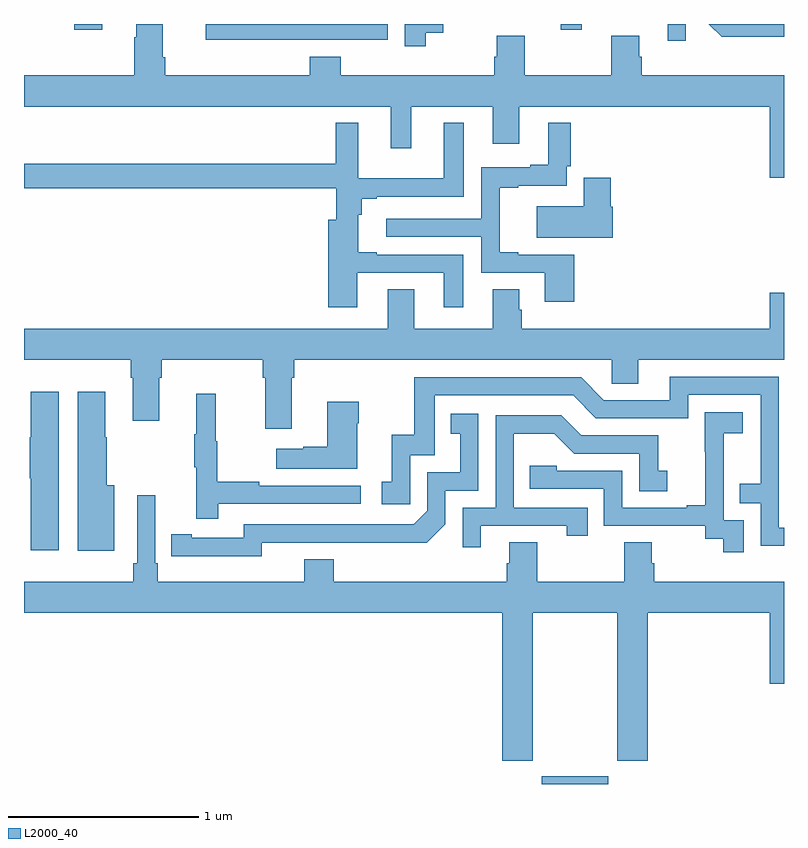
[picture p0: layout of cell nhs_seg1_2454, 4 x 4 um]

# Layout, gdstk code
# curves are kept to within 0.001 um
import gdstk
lib = gdstk.Library(unit=1e-6, precision=1e-09)
def R(c, l, rs):  # rectangles x0, y0, x1, y1
    for r in rs: c.add(gdstk.rectangle(r[:2], r[2:], *l))
def P(c, l, *ps):  # polygons
    for p in ps: c.add(gdstk.Polygon(p, *l))
L2000_40 = (2000, 40)

nhs_seg1_2454 = lib.new_cell('nhs_seg1_2454')
R(nhs_seg1_2454, L2000_40, [(247.724,516.199,248.074,516.241), (248.387,520.11,248.484,520.199), (245.265,520.17,245.413,520.199), (247.825,520.17,247.936,520.199)])
P(nhs_seg1_2454, L2000_40, [(247.114,520.153),(247.206,520.153),(247.206,520.199),(247.005,520.199),(247.005,520.083),(247.114,520.083)],
  [(249,519.928),(248.252,519.928),(248.252,520.026),(248.239,520.026),(248.239,520.136),(248.092,520.136),(248.092,519.928),(247.635,519.928),(247.635,520.136),(247.487,520.136),(247.487,520.026),(247.475,520.026),(247.475,519.928),(246.668,519.928),(246.668,520.027),(246.503,520.027),(246.503,519.928),(245.744,519.928),(245.744,520.024),(245.731,520.024),(245.731,520.199),(245.591,520.199),(245.591,520.13),(245.579,520.13),(245.579,519.928),(245,519.928),(245,519.764),(246.929,519.764),(246.929,519.546),(247.039,519.546),(247.039,519.764),(247.466,519.764),(247.466,519.57),(247.606,519.57),(247.606,519.764),(248.924,519.764),(248.924,519.39),(249,519.39)],
  [(249,520.199),(248.605,520.199),(248.672,520.133),(249,520.133)],
  [(246.419,520.116),(246.915,520.116),(246.915,520.199),(245.956,520.199),(245.956,520.115),(246.419,520.115)],
  [(246.754,518.889),(247.208,518.889),(247.208,518.709),(247.312,518.709),(247.312,518.985),(246.856,518.985),(246.856,518.998),(246.76,518.998),(246.76,519.194),(246.778,519.194),(246.778,519.279),(246.856,519.279),(246.856,519.291),(247.315,519.291),(247.315,519.679),(247.208,519.679),(247.208,519.388),(246.76,519.388),(246.76,519.679),(246.642,519.679),(246.642,519.463),(245,519.463),(245,519.334),(246.644,519.334),(246.644,519.169),(246.602,519.169),(246.602,518.709),(246.754,518.709)],
  [(247.895,518.985),(247.6,518.985),(247.6,518.998),(247.505,518.998),(247.505,519.336),(247.6,519.336),(247.6,519.348),(247.857,519.348),(247.857,519.451),(247.877,519.451),(247.877,519.679),(247.76,519.679),(247.76,519.457),(247.664,519.457),(247.664,519.444),(247.407,519.444),(247.407,519.174),(246.906,519.174),(246.906,519.078),(247.407,519.078),(247.407,518.889),(247.742,518.889),(247.742,518.736),(247.895,518.736)],
  [(248.099,519.237),(248.087,519.237),(248.087,519.391),(247.946,519.391),(247.946,519.241),(247.698,519.241),(247.698,519.074),(248.099,519.074)],
  [(246.409,518.336),(246.422,518.336),(246.422,518.432),(248.094,518.432),(248.094,518.305),(248.233,518.305),(248.233,518.432),(249,518.432),(249,518.785),(248.924,518.785),(248.924,518.596),(247.619,518.596),(247.619,518.694),(247.606,518.694),(247.606,518.804),(247.466,518.804),(247.466,518.596),(247.054,518.596),(247.054,518.804),(246.914,518.804),(246.914,518.596),(245,518.596),(245,518.432),(245.561,518.432),(245.561,518.336),(245.573,518.336),(245.573,518.112),(245.713,518.112),(245.713,518.336),(245.726,518.336),(245.726,518.432),(246.257,518.432),(246.257,518.336),(246.269,518.336),(246.269,518.07),(246.409,518.07)],
  [(249,517.548),(248.973,517.548),(248.973,518.343),(248.399,518.343),(248.399,518.22),(248.052,518.22),(247.932,518.34),(247.053,518.34),(247.053,518.038),(246.935,518.038),(246.935,517.791),(246.882,517.791),(246.882,517.671),(247.032,517.671),(247.032,517.929),(247.161,517.929),(247.161,518.244),(247.89,518.244),(248.01,518.124),(248.496,518.124),(248.496,518.247),(248.877,518.247),(248.877,517.778),(248.767,517.778),(248.767,517.677),(248.877,517.677),(248.877,517.452),(249,517.452)],
  [(245.476,517.771),(245.436,517.771),(245.436,518.024),(245.428,518.024),(245.428,518.263),(245.282,518.263),(245.282,517.427),(245.476,517.427)],
  [(245.182,518.263),(245.036,518.263),(245.036,518.024),(245.029,518.024),(245.029,517.807),(245.036,517.807),(245.036,517.428),(245.182,517.428)],
  [(246.023,517.674),(246.772,517.674),(246.772,517.77),(246.239,517.77),(246.239,517.79),(246.016,517.79),(246.016,518.004),(246.008,518.004),(246.008,518.254),(245.906,518.254),(245.906,518.041),(245.895,518.041),(245.895,517.867),(245.906,517.867),(245.906,517.596),(246.023,517.596)],
  [(246.754,518.099),(246.762,518.099),(246.762,518.212),(246.596,518.212),(246.596,517.973),(246.47,517.973),(246.47,517.963),(246.327,517.963),(246.327,517.859),(246.754,517.859)],
  [(248.787,517.587),(248.682,517.587),(248.682,517.817),(248.684,517.817),(248.684,518.045),(248.782,518.045),(248.782,518.155),(248.584,518.155),(248.584,517.949),(248.585,517.949),(248.585,517.666),(248.489,517.666),(248.489,517.653),(248.148,517.653),(248.148,517.848),(247.803,517.848),(247.803,517.875),(247.663,517.875),(247.663,517.752),(248.052,517.752),(248.052,517.557),(248.586,517.557),(248.586,517.489),(248.679,517.489),(248.679,517.419),(248.787,517.419)],
  [(246.252,517.47),(247.12,517.469),(247.218,517.566),(247.218,517.743),(247.392,517.743),(247.392,518.149),(247.246,518.149),(247.246,518.043),(247.295,518.043),(247.295,517.839),(247.122,517.839),(247.122,517.638),(247.05,517.566),(246.156,517.566),(246.156,517.494),(245.884,517.494),(245.884,517.514),(245.776,517.514),(245.776,517.398),(246.252,517.397)],
  [(247.405,517.557),(247.856,517.557),(247.856,517.506),(247.967,517.506),(247.967,517.653),(247.578,517.653),(247.578,518.042),(247.792,518.042),(247.896,517.938),(248.238,517.938),(248.238,517.74),(248.386,517.74),(248.386,517.849),(248.337,517.849),(248.337,518.034),(247.933,518.034),(247.828,518.139),(247.482,518.139),(247.482,517.653),(247.308,517.653),(247.308,517.446),(247.405,517.446)],
  [(247.677,517.1),(248.122,517.1),(248.122,516.321),(248.282,516.321),(248.282,517.1),(248.924,517.1),(248.924,516.726),(249,516.726),(249,517.264),(248.318,517.264),(248.318,517.362),(248.305,517.362),(248.305,517.472),(248.158,517.472),(248.158,517.264),(247.701,517.264),(247.701,517.472),(247.553,517.472),(247.553,517.362),(247.541,517.362),(247.541,517.264),(246.629,517.264),(246.629,517.381),(246.476,517.381),(246.476,517.264),(245.705,517.264),(245.705,517.36),(245.691,517.36),(245.691,517.72),(245.595,517.72),(245.595,517.36),(245.575,517.36),(245.575,517.264),(245,517.264),(245,517.1),(247.517,517.1),(247.517,516.321),(247.677,516.321)])

lib.write_gds('nhs_seg1_2454.gds')
